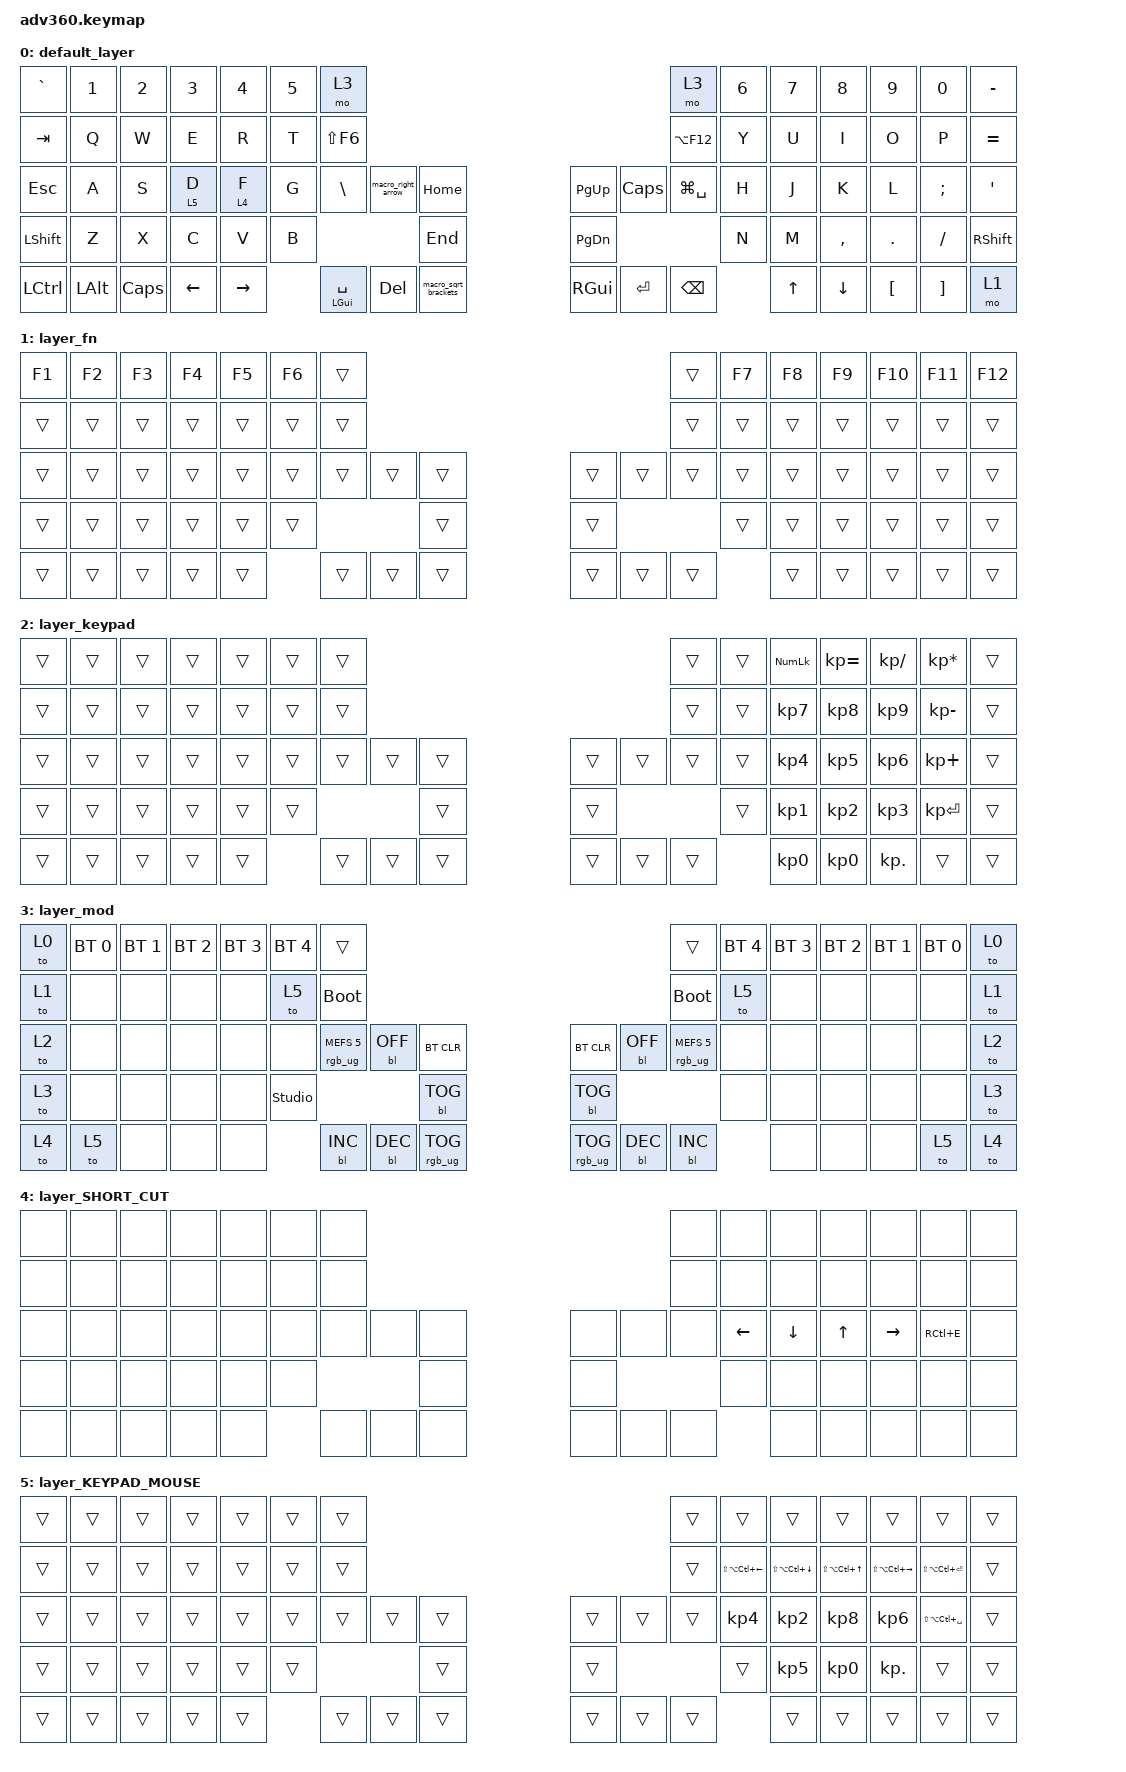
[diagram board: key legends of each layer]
/*
 * Copyright (c) 2020 The ZMK Contributors
 *
 * SPDX-License-Identifier: MIT
 */
/* THIS FILE WAS GENERATED!
 *
 * This file was generated automatically. You may or may not want to
 * edit it directly.
 */

#include <dt-bindings/zmk/stp.h>
#include <behaviors.dtsi>
#include <dt-bindings/zmk/backlight.h>
#include <dt-bindings/zmk/bt.h>
#include <dt-bindings/zmk/keys.h>
#include <dt-bindings/zmk/rgb.h>

/ {
    behaviors {
        #include "macros.dtsi"
    #include "version.dtsi"

        hm: homerow_mods {
            compatible = "zmk,behavior-hold-tap";
            label = "HOMEROW_MODS";
            #binding-cells = <2>;
            tapping-term-ms = <200>;
            quick_tap_ms = <175>;
            flavor = "tap-preferred";
            bindings = <&kp>, <&kp>;
        };

        ym: ym {
            compatible = "zmk,behavior-hold-tap";
            label = "YM";
            bindings = <&kp>, <&kp>;

            #binding-cells = <2>;
            tapping-term-ms = <300>;
            quick-tap-ms = <0>;
            flavor = "tap-preferred";
        };

        extra1 {
            display-name = "Red";
            status = "reserved";
        };

        extra2 {
            display-name = "Purple";
            status = "reserved";
        };

        extra3 {
            display-name = "Cyan";
            status = "reserved";
        };

        extra4 {
            display-name = "Yellow";
            status = "reserved";
        };
    };

    macros {
        macro_right_arrow: macro_right_arrow {
            compatible = "zmk,behavior-macro";
            #binding-cells = <0>;
            bindings = <&kp SPACE &kp MINUS &kp GT &kp SPACE>;
            label = "MACRO_RIGHT_ARROW";
        };

        macro_sqrt_brackets: macro_sqrt_brackets {
            compatible = "zmk,behavior-macro";
            #binding-cells = <0>;
            bindings = <&kp LBKT &kp RIGHT_BRACKET &kp LEFT>;
            label = "MACRO_SQRT_BRACKETS";
        };
    };

    keymap {
        compatible = "zmk,keymap";

        default_layer {
            bindings = <
&kp GRAVE  &kp N1    &kp N2    &kp N3    &kp N4     &kp N5  &mo 3                                                                                       &mo 3          &kp N6  &kp N7  &kp N8     &kp N9    &kp N0    &kp MINUS
&kp TAB    &kp Q     &kp W     &kp E     &kp R      &kp T   &kp LS(F6)                                                                                  &kp LA(F12)    &kp Y   &kp U   &kp I      &kp O     &kp P     &kp EQUAL
&kp ESC    &kp A     &kp S     &lt 5 D   &lt 4 F    &kp G   &kp BACKSLASH       &macro_right_arrow  &kp HOME                  &kp PG_UP      &kp CAPS   &kp LG(SPACE)  &kp H   &kp J   &kp K      &kp L     &kp SEMI  &kp SQT
&kp LSHFT  &kp Z     &kp X     &kp C     &kp V      &kp B                                           &kp END                   &kp PAGE_DOWN                            &kp N   &kp M   &kp COMMA  &kp DOT   &kp FSLH  &kp RSHFT
&kp LCTRL  &kp LALT  &kp CAPS  &kp LEFT  &kp RIGHT          &ym LEFT_GUI SPACE  &kp DEL             &macro_sqrt_brackets      &kp RGUI       &kp ENTER  &kp BACKSPACE          &kp UP  &kp DOWN   &kp LBKT  &kp RBKT  &mo 1
            >;
        };

        layer_fn {
            bindings = <
&kp F1  &kp F2  &kp F3  &kp F4  &kp F5  &kp F6  &trans                                      &trans  &kp F7  &kp F8  &kp F9  &kp F10  &kp F11  &kp F12
&trans  &trans  &trans  &trans  &trans  &trans  &trans                                      &trans  &trans  &trans  &trans  &trans   &trans   &trans
&trans  &trans  &trans  &trans  &trans  &trans  &trans  &trans  &trans      &trans  &trans  &trans  &trans  &trans  &trans  &trans   &trans   &trans
&trans  &trans  &trans  &trans  &trans  &trans                  &trans      &trans                  &trans  &trans  &trans  &trans   &trans   &trans
&trans  &trans  &trans  &trans  &trans          &trans  &trans  &trans      &trans  &trans  &trans          &trans  &trans  &trans   &trans   &trans
            >;
        };

        layer_keypad {
            bindings = <
&trans  &trans  &trans  &trans  &trans  &trans  &trans                                      &trans  &trans  &kp KP_NUM  &kp KP_EQUAL  &kp KP_DIVIDE  &kp KP_MULTIPLY  &trans
&trans  &trans  &trans  &trans  &trans  &trans  &trans                                      &trans  &trans  &kp KP_N7   &kp KP_N8     &kp KP_N9      &kp KP_MINUS     &trans
&trans  &trans  &trans  &trans  &trans  &trans  &trans  &trans  &trans      &trans  &trans  &trans  &trans  &kp KP_N4   &kp KP_N5     &kp KP_N6      &kp KP_PLUS      &trans
&trans  &trans  &trans  &trans  &trans  &trans                  &trans      &trans                  &trans  &kp KP_N1   &kp KP_N2     &kp KP_N3      &kp KP_ENTER     &trans
&trans  &trans  &trans  &trans  &trans          &trans  &trans  &trans      &trans  &trans  &trans          &kp KP_N0   &kp KP_N0     &kp KP_DOT     &trans           &trans
            >;
        };

        layer_mod {
            bindings = <
&to 0  &bt BT_SEL 0  &bt BT_SEL 1  &bt BT_SEL 2  &bt BT_SEL 3  &bt BT_SEL 4    &trans                                                                                &trans                  &bt BT_SEL 4  &bt BT_SEL 3  &bt BT_SEL 2  &bt BT_SEL 1  &bt BT_SEL 0  &to 0
&to 1  &none         &none         &none         &none         &to 5           &bootloader                                                                           &bootloader             &to 5         &none         &none         &none         &none         &to 1
&to 2  &none         &none         &none         &none         &none           &rgb_ug RGB_MEFS_CMD 5  &bl BL_OFF  &bt BT_CLR           &bt BT_CLR       &bl BL_OFF  &rgb_ug RGB_MEFS_CMD 5  &none         &none         &none         &none         &none         &to 2
&to 3  &none         &none         &none         &none         &studio_unlock                                      &bl BL_TOG           &bl BL_TOG                                           &none         &none         &none         &none         &none         &to 3
&to 4  &to 5         &none         &none         &none                         &bl BL_INC              &bl BL_DEC  &rgb_ug RGB_TOG      &rgb_ug RGB_TOG  &bl BL_DEC  &bl BL_INC                            &none         &none         &none         &to 5         &to 4
            >;
        };

        layer_SHORT_CUT {
            bindings = <
&none  &none  &none  &none  &none  &none  &none                                  &none  &none     &none     &none   &none      &none      &none
&none  &none  &none  &none  &none  &none  &none                                  &none  &none     &none     &none   &none      &none      &none
&none  &none  &none  &none  &none  &none  &none  &none  &none      &none  &none  &none  &kp LEFT  &kp DOWN  &kp UP  &kp RIGHT  &kp RC(E)  &none
&none  &none  &none  &none  &none  &none                &none      &none                &none     &none     &none   &none      &none      &none
&none  &none  &none  &none  &none         &none  &none  &none      &none  &none  &none            &none     &none   &none      &none      &none
            >;
        };

        layer_KEYPAD_MOUSE {
            bindings = <
&trans  &trans  &trans  &trans  &trans  &trans  &trans                                      &trans  &trans                &trans                &trans              &trans                 &trans                 &trans
&trans  &trans  &trans  &trans  &trans  &trans  &trans                                      &trans  &kp LS(LA(LC(LEFT)))  &kp LS(LA(LC(DOWN)))  &kp LS(LA(LC(UP)))  &kp LS(LA(LC(RIGHT)))  &kp LS(LA(LC(ENTER)))  &trans
&trans  &trans  &trans  &trans  &trans  &trans  &trans  &trans  &trans      &trans  &trans  &trans  &kp KP_N4             &kp KP_N2             &kp KP_N8           &kp KP_N6              &kp LS(LA(LC(SPACE)))  &trans
&trans  &trans  &trans  &trans  &trans  &trans                  &trans      &trans                  &trans                &kp KP_N5             &kp KP_N0           &kp KP_DOT             &trans                 &trans
&trans  &trans  &trans  &trans  &trans          &trans  &trans  &trans      &trans  &trans  &trans                        &trans                &trans              &trans                 &trans                 &trans
            >;
        };
    };
};
